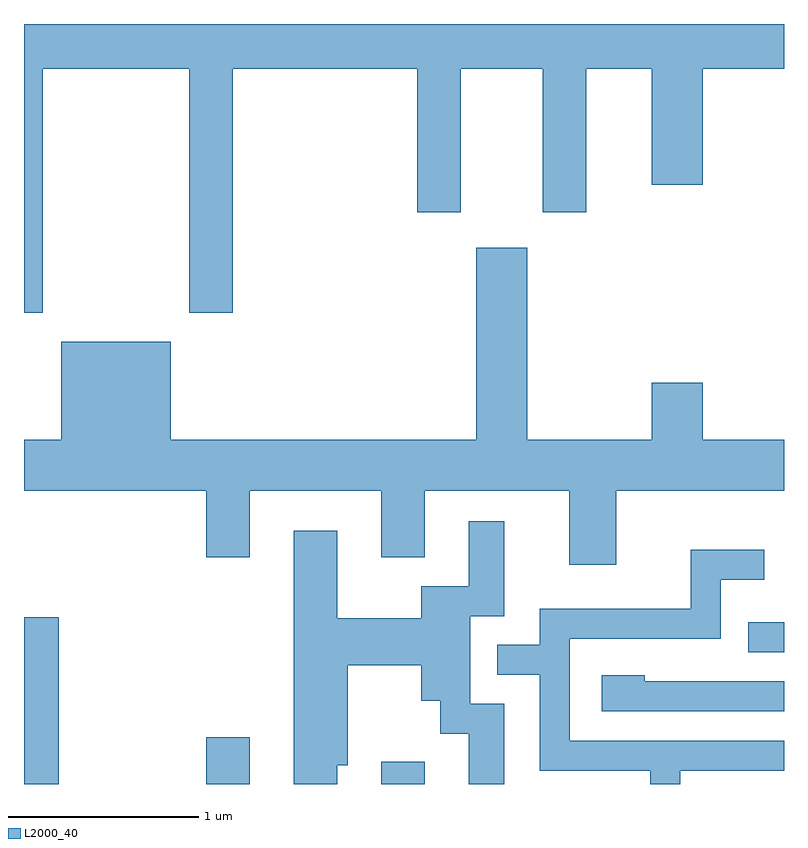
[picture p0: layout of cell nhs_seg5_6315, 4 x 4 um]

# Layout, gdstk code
import gdstk
lib = gdstk.Library(unit=1e-6, precision=1e-09)
def R(c, l, rs):  # rectangles x0, y0, x1, y1
    for r in rs: c.add(gdstk.rectangle(r[:2], r[2:], *l))
def P(c, l, *ps):  # polygons
    for p in ps: c.add(gdstk.Polygon(p, *l))
L2000_40 = (2000, 40)

nhs_seg5_6315 = lib.new_cell('nhs_seg5_6315')
R(nhs_seg5_6315, L2000_40, [(371.611,1524.072,371.794,1524.949), (372.571,1524.072,372.799,1524.319), (373.491,1524.072,373.719,1524.189), (375.423,1524.766,375.611,1524.924)])
P(nhs_seg5_6315, L2000_40, [(371.611,1526.551),(371.709,1526.551),(371.709,1527.836),(372.481,1527.836),(372.481,1526.551),(372.709,1526.551),(372.709,1527.836),(373.681,1527.836),(373.681,1527.081),(373.909,1527.081),(373.909,1527.836),(374.341,1527.836),(374.341,1527.081),(374.569,1527.081),(374.569,1527.836),(374.916,1527.836),(374.916,1527.226),(375.184,1527.226),(375.184,1527.836),(375.611,1527.836),(375.611,1528.072),(371.611,1528.072)],
  [(374.481,1525.226),(374.729,1525.226),(374.729,1525.616),(375.611,1525.616),(375.611,1525.884),(375.184,1525.884),(375.184,1526.184),(374.916,1526.184),(374.916,1525.884),(374.259,1525.884),(374.259,1526.894),(373.991,1526.894),(373.991,1525.884),(372.384,1525.884),(372.384,1526.399),(371.806,1526.399),(371.806,1525.884),(371.611,1525.884),(371.611,1525.616),(372.571,1525.616),(372.571,1525.266),(372.799,1525.266),(372.799,1525.616),(373.491,1525.616),(373.491,1525.266),(373.719,1525.266),(373.719,1525.616),(374.481,1525.616)],
  [(373.259,1524.171),(373.314,1524.171),(373.314,1524.696),(373.701,1524.696),(373.701,1524.511),(373.801,1524.511),(373.801,1524.336),(373.951,1524.336),(373.951,1524.072),(374.139,1524.072),(374.139,1524.494),(373.959,1524.494),(373.959,1524.956),(374.139,1524.956),(374.139,1525.454),(373.951,1525.454),(373.951,1525.114),(373.701,1525.114),(373.701,1524.944),(373.259,1524.944),(373.259,1525.404),(373.031,1525.404),(373.031,1524.072),(373.259,1524.072)],
  [(375.064,1524.141),(375.611,1524.141),(375.611,1524.299),(374.484,1524.299),(374.484,1524.836),(375.279,1524.836),(375.279,1525.146),(375.508,1525.146),(375.508,1525.304),(375.121,1525.304),(375.121,1524.994),(374.326,1524.994),(374.326,1524.804),(374.103,1524.804),(374.103,1524.646),(374.326,1524.646),(374.326,1524.141),(374.906,1524.141),(374.906,1524.072),(375.064,1524.072)],
  [(375.611,1524.614),(374.879,1524.614),(374.879,1524.644),(374.651,1524.644),(374.651,1524.456),(375.611,1524.456)])

lib.write_gds('nhs_seg5_6315.gds')
